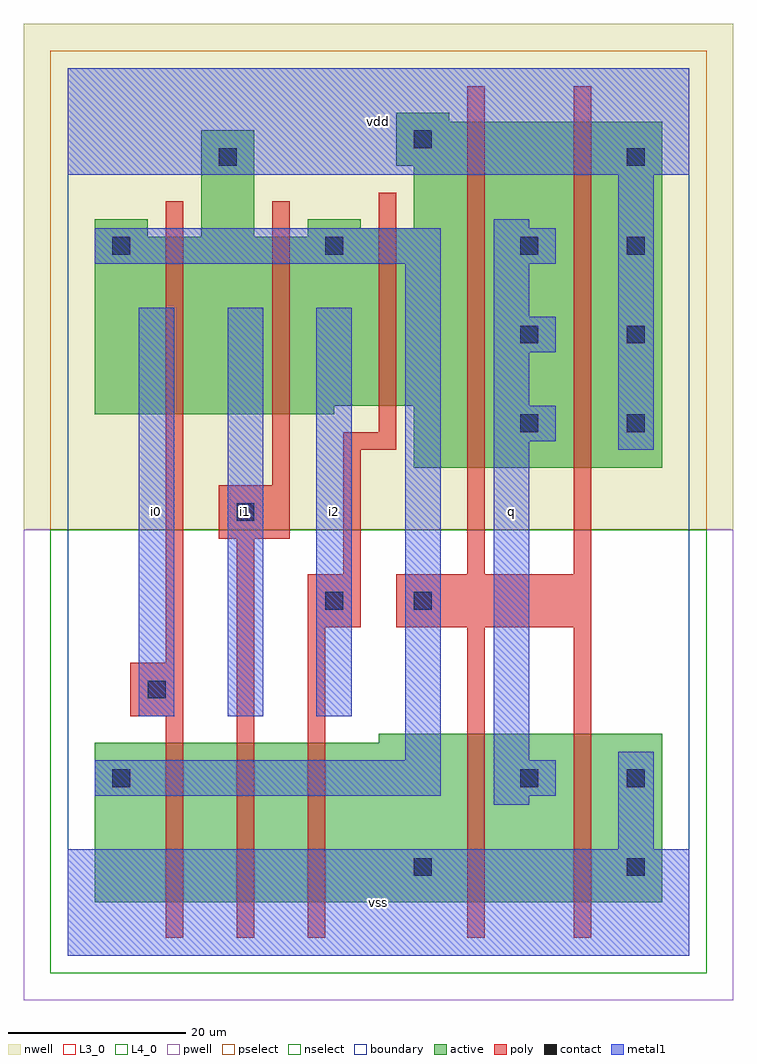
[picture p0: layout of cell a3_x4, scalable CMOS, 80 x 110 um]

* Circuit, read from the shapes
.subckt a3_x4 i0 i1 i2 q vdd vss
M1 n1 i0 n2 VSUBS nfet w=18u l=2u
M2 n3 i1 n1 VSUBS nfet w=18u l=2u
M3 vss i2 n3 VSUBS nfet w=18u l=2u
M4 q n2 vss VSUBS nfet w=19u l=2u m=2
M5 vdd i0 n2 n4 pfet w=20u l=2u
M6 n2 i1 vdd n4 pfet w=20u l=2u
M7 vdd i2 n2 n4 pfet w=20u l=2u
M8 q n2 vdd n4 pfet w=39u l=2u m=2
.ends

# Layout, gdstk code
import gdstk
lib = gdstk.Library(unit=1e-6, precision=1e-09)
def R(c, l, rs):  # rectangles x0, y0, x1, y1
    for r in rs: c.add(gdstk.rectangle(r[:2], r[2:], *l))
def A(c, l, x, y, w, h, nx, ny, dx, dy):  # array of equal rectangles
    R(c, l, [(x+i*dx, y+j*dy, x+i*dx+w, y+j*dy+h) for i in range(nx) for j in range(ny)])
L3_0 = (3, 0)
L4_0 = (4, 0)
contact = (25, 0)
pwell = (41, 0)
nwell = (42, 0)
active = (43, 0)
pselect = (44, 0)
nselect = (45, 0)
poly = (46, 0)
metal1 = (49, 0)
boundary = (63, 0)

a3_x4 = lib.new_cell('a3_x4')
R(a3_x4, L3_0, [(3,6,67,24), (35,24,67,25)])
R(a3_x4, L4_0, [(39,55,67,62), (3,61,30,62), (3,62,67,81), (3,81,9,83), (15,81,21,93), (27,81,67,82), (27,82,33,83), (39,82,67,89), (37,89,67,94), (37,94,43,95)])
A(a3_x4, contact, 51, 59, 2, 2, 1, 3, 0, 10)
A(a3_x4, contact, 63, 59, 2, 2, 1, 4, 0, 10)
R(a3_x4, contact, [(39,9,41,11), (63,9,65,11), (5,19,7,21), (51,19,53,21), (63,19,65,21), (9,29,11,31), (29,39,31,41), (39,39,41,41), (19,49,21,51), (5,79,7,81), (29,79,31,81), (17,89,19,91), (39,91,41,93)])
R(a3_x4, pwell, [(-5,-5,75,48)])
R(a3_x4, nwell, [(-5,48,75,105)])
R(a3_x4, active, [(3,6,67,24), (35,24,67,25), (39,55,67,62), (3,61,30,62), (3,62,67,81), (3,81,9,83), (15,81,21,93), (27,81,67,82), (27,82,33,83), (39,82,67,89), (37,89,67,94), (37,94,43,95)])
R(a3_x4, pselect, [(-2,48,72,102)])
R(a3_x4, nselect, [(-2,-2,72,48)])
R(a3_x4, poly, [(11,2,13,27), (19,2,21,47), (27,2,29,37), (45,2,47,37), (57,2,59,37), (7,27,13,33), (11,33,13,85), (27,37,33,43), (37,37,59,43), (31,43,33,57), (45,43,47,98), (57,43,59,98), (17,47,25,53), (23,53,25,85), (31,57,37,59), (35,59,37,86)])
A(a3_x4, metal1, 8, 27, 4, 46, 3, 1, 10, 0)
A(a3_x4, metal1, 48, 58, 7, 4, 1, 3, 0, 10)
R(a3_x4, metal1, [(0,0,70,12), (62,12,66,23), (48,17,52,18), (3,18,42,22), (48,18,55,22), (38,22,42,78), (48,22,52,58), (62,57,66,88), (48,62,52,68), (48,72,52,78), (3,78,42,82), (48,82,52,83), (0,88,70,100)])
R(a3_x4, boundary, [(0,0,70,100)])
a3_x4.add(gdstk.Label('i0', (10,50), layer=49, texttype=0))
a3_x4.add(gdstk.Label('i2', (30,50), layer=49, texttype=0))
a3_x4.add(gdstk.Label('i1', (20,50), layer=49, texttype=0))
a3_x4.add(gdstk.Label('vss', (35,6), layer=49, texttype=0))
a3_x4.add(gdstk.Label('q', (50,50), layer=49, texttype=0))
a3_x4.add(gdstk.Label('vdd', (35,94), layer=49, texttype=0))

lib.write_gds('a3_x4.gds')
